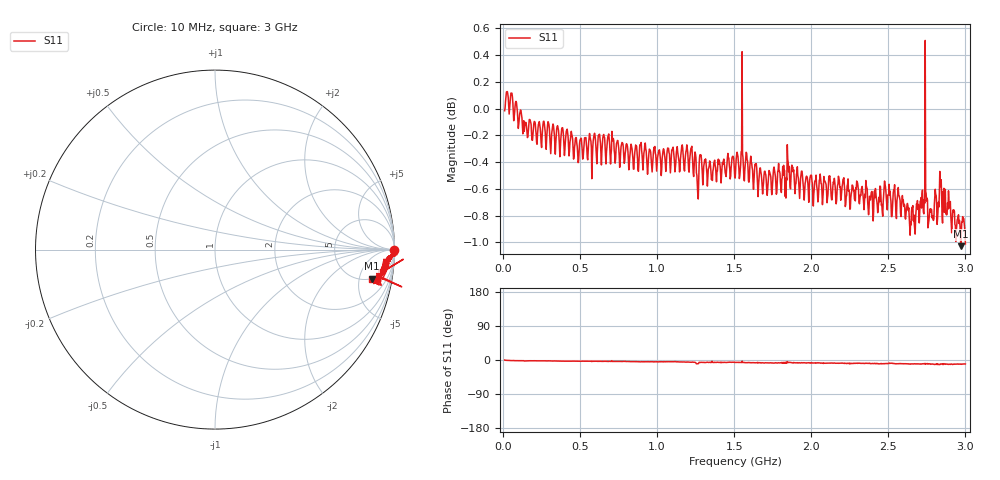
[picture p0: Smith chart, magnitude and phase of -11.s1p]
# HZ S RI R 50
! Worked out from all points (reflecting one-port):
!   1010 points, 10 MHz to 3 GHz, reference 50 ohm
!   lowest |S11| = -1.0 dB at 2.97 GHz (marker M1), VSWR 16.91, Z = 250 - j384 ohm
!   phase of S11 starts at -0 deg and turns -10 deg over the sweep
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1e7  0.9981 -0.00234
9.593657e7  0.9903 -0.0327
3.863429e8  0.9823 -0.0503
7.597225e8  0.9529 -0.0603
8.98999e8  0.9619 -0.0747
1.133102e9  0.96 -0.0787
1.230892e9  0.9492 -0.0946
1.263489e9  0.9151 -0.1593
1.287195e9  0.9526 -0.1013
1.506482e9  0.9365 -0.1016
1.562785e9  0.9364 -0.1043
1.669465e9  0.9429 -0.1175
1.767255e9  0.9356 -0.1197
1.826521e9  0.942 -0.1072
1.859118e9  0.9366 -0.1013
1.879861e9  0.9422 -0.1277
2.253241e9  0.9067 -0.1398
2.362884e9  0.9227 -0.14
2.448821e9  0.9217 -0.1576
2.514014e9  0.9159 -0.1382
2.62662e9  0.9058 -0.1612
2.685887e9  0.9042 -0.1689
2.7333e9  0.9123 -0.1512
2.771824e9  0.9018 -0.1682
2.8222e9  0.8972 -0.1843
2.845907e9  0.9095 -0.1698
2.970367e9  0.8735 -0.1616
3e9  0.8752 -0.1617
